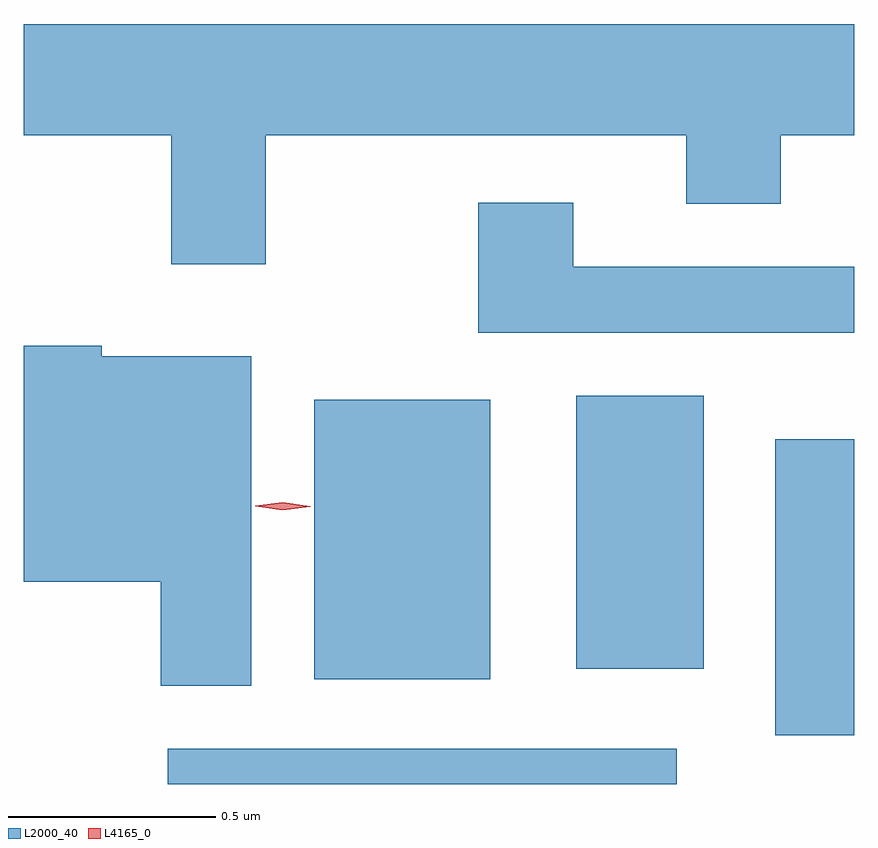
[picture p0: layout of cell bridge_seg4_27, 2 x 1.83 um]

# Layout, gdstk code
import gdstk
lib = gdstk.Library(unit=1e-6, precision=1e-09)
def R(c, l, rs):  # rectangles x0, y0, x1, y1
    for r in rs: c.add(gdstk.rectangle(r[:2], r[2:], *l))
def P(c, l, *ps):  # polygons
    for p in ps: c.add(gdstk.Polygon(p, *l))
L2000_40 = (2000, 40)
L4165_0 = (4165, 0)

bridge_seg4_27 = lib.new_cell('bridge_seg4_27')
R(bridge_seg4_27, L2000_40, [(1243.913,1295.394,1245.138,1295.479), (1245.376,1295.511,1245.566,1296.224), (1244.266,1295.646,1244.689,1296.319), (1244.896,1295.671,1245.204,1296.329)])
P(bridge_seg4_27, L2000_40, [(1244.149,1296.956),(1245.161,1296.956),(1245.161,1296.791),(1245.389,1296.791),(1245.389,1296.956),(1245.566,1296.956),(1245.566,1297.224),(1243.566,1297.224),(1243.566,1296.956),(1243.921,1296.956),(1243.921,1296.646),(1244.149,1296.646)],
  [(1245.566,1296.639),(1244.889,1296.639),(1244.889,1296.794),(1244.661,1296.794),(1244.661,1296.481),(1245.566,1296.481)],
  [(1244.114,1296.424),(1243.754,1296.424),(1243.754,1296.449),(1243.566,1296.449),(1243.566,1295.881),(1243.896,1295.881),(1243.896,1295.631),(1244.114,1295.631)])
P(bridge_seg4_27, L4165_0, [(1244.19,1296.053),(1244.124,1296.063),(1244.124,1296.063),(1244.124,1296.064),(1244.19,1296.073),(1244.256,1296.063),(1244.256,1296.063),(1244.256,1296.062)])

lib.write_gds('bridge_seg4_27.gds')
